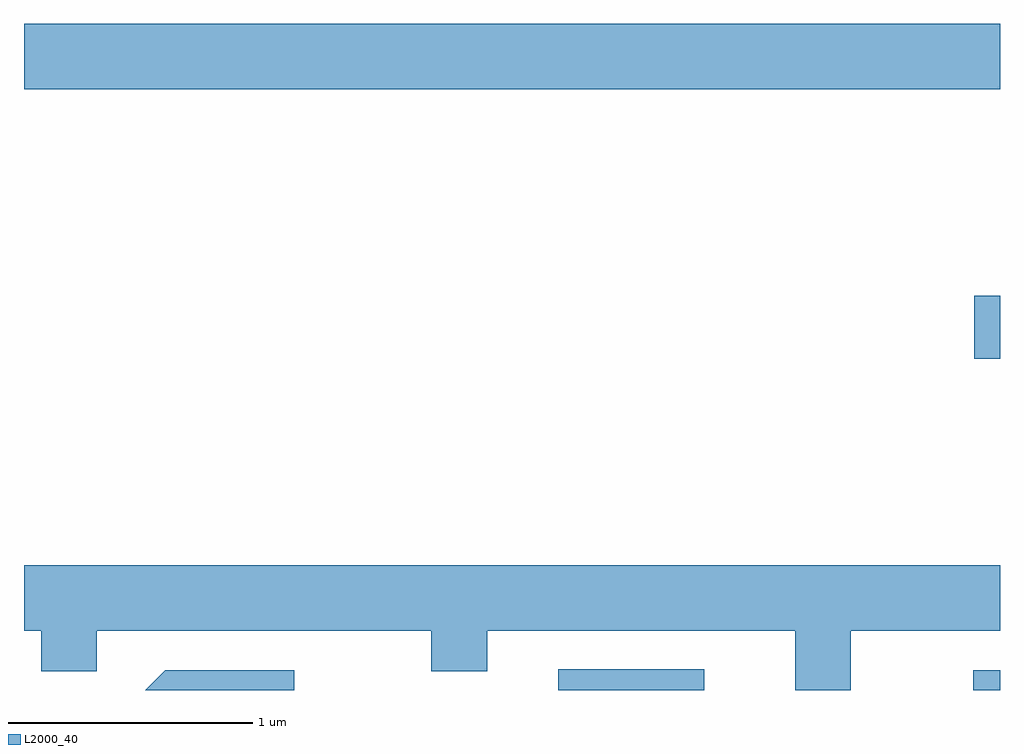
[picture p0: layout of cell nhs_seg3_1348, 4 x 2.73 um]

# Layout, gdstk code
import gdstk
lib = gdstk.Library(unit=1e-6, precision=1e-09)
def R(c, l, rs):  # rectangles x0, y0, x1, y1
    for r in rs: c.add(gdstk.rectangle(r[:2], r[2:], *l))
def P(c, l, *ps):  # polygons
    for p in ps: c.add(gdstk.Polygon(p, *l))
L2000_40 = (2000, 40)

nhs_seg3_1348 = lib.new_cell('nhs_seg3_1348')
R(nhs_seg3_1348, L2000_40, [(225.801,1227.892,226.398,1227.979), (227.501,1227.892,227.611,1227.974), (227.506,1229.251,227.611,1229.509), (223.611,1230.356,227.611,1230.624)])
P(nhs_seg3_1348, L2000_40, [(226.999,1228.136),(227.611,1228.136),(227.611,1228.404),(223.611,1228.404),(223.611,1228.136),(223.681,1228.136),(223.681,1227.971),(223.909,1227.971),(223.909,1228.136),(225.281,1228.136),(225.281,1227.971),(225.509,1227.971),(225.509,1228.136),(226.771,1228.136),(226.771,1227.892),(226.999,1227.892)],
  [(224.718,1227.974),(224.189,1227.974),(224.107,1227.892),(224.718,1227.892)])

lib.write_gds('nhs_seg3_1348.gds')
